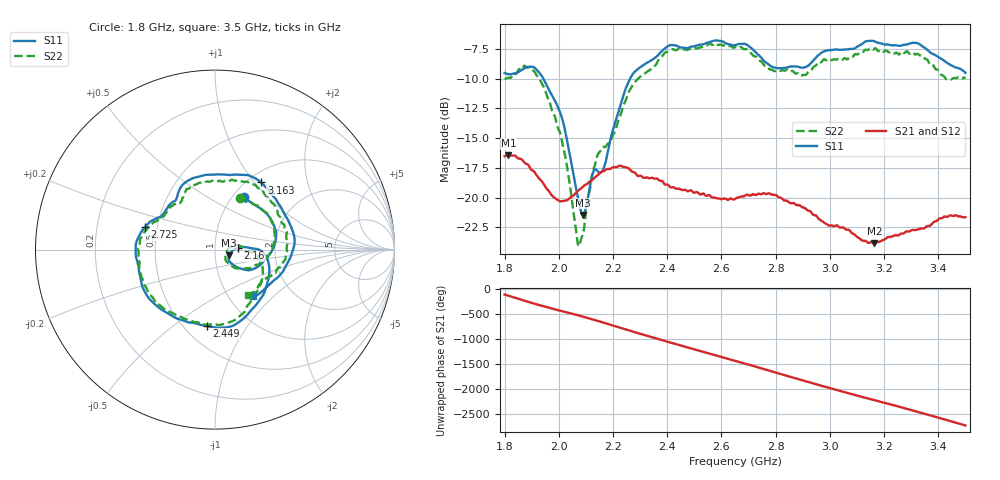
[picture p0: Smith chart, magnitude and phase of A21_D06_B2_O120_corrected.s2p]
! Created with skrf 1.9.0 (http://scikit-rf.org).
# Hz S RI R 50.0
!freq ReS11 ImS11 ReS21 ImS21 ReS12 ImS12 ReS22 ImS22
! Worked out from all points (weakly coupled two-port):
!   1601 points, 1.8 GHz to 3.5 GHz, reference 50 ohm
!   highest |S21| = -16.43 dB at 1.814 GHz (marker M1); lowest = -23.8 dB at 3.164 GHz (marker M2)
!   lowest |S11| = -21.4 dB at 2.09 GHz (marker M3), VSWR 1.18, Z = 58.4 - j3.73 ohm
!   |S11| at or under -10 dB: 1.943 GHz to 2.263 GHz (319.9 MHz wide, 15.2 % of centre)
!   |S22| runs from -24.1 to -7.0 dB; largest |S21 - S12| = 0.0025
!   S11 on the Smith chart (normalised r, x): 1.8 GHz: 1.13, +0.74; 2.16 GHz: 1.30, +0.02; 2.449 GHz: 0.64, -0.67; 2.725 GHz: 0.43, +0.13; 3.163 GHz: 1.15, +1.08; 3.5 GHz: 1.28, -0.75
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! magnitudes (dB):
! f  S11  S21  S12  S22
! 1.8 GHz  -9.5  -16.5  -16.5  -10.0
! 1.814 GHz  -9.6  -16.4  -16.4  -9.9
! 1.88 GHz  -9.0  -17.2  -17.1  -9.0
! 1.942 GHz  -10.0  -18.8  -18.8  -10.6
! 2.013 GHz  -13.4  -20.3  -20.3  -15.4
! 2.068 GHz  -19.7  -19.5  -19.5  -23.5
! 2.084 GHz  -21.3  -19.2  -19.1  -23.4
! 2.09 GHz  -21.4  -19.0  -19.1  -22.9
! 2.128 GHz  -17.8  -18.4  -18.4  -17.5
! 2.16 GHz  -17.8  -17.8  -17.7  -15.8
! 2.26 GHz  -10.1  -17.6  -17.6  -11.0
! 2.367 GHz  -8.0  -18.5  -18.4  -8.4
! 2.449 GHz  -7.4  -19.3  -19.3  -7.6
! 2.65 GHz  -7.2  -20.1  -20.1  -7.3
! 2.725 GHz  -7.8  -19.8  -19.7  -8.1
! 2.8 GHz  -9.1  -19.8  -19.8  -9.4
! 2.934 GHz  -8.6  -21.3  -21.3  -9.2
! 3.163 GHz  -6.8  -23.8  -23.8  -7.5
! 3.164 GHz  -6.9  -23.8  -23.8  -7.5
! 3.217 GHz  -7.1  -23.3  -23.3  -7.8
! 3.324 GHz  -7.0  -22.7  -22.6  -7.9
! 3.5 GHz  -9.5  -21.6  -21.6  -10.0
